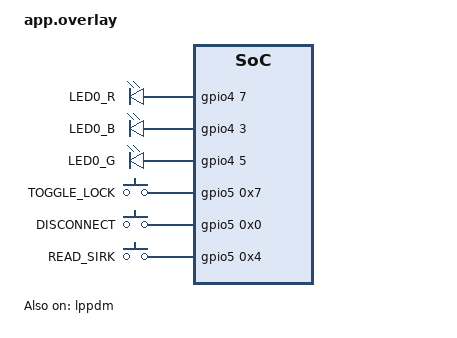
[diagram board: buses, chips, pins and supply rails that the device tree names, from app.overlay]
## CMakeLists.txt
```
# Copyright (C) Alif Semiconductor - All Rights Reserved.
# Use, distribution and modification of this code is permitted under the
# terms stated in the Alif Semiconductor Software License Agreement
#
# You should have received a copy of the Alif Semiconductor Software
# License Agreement with this file. If not, please write to:
# contact@alifsemi.com, or visit: https://alifsemi.com/license

cmake_minimum_required(VERSION 3.20.0)
find_package(Zephyr REQUIRED HINTS $ENV{ZEPHYR_BASE})
project(le_central_csip)

target_sources(app PRIVATE
    src/main.c
    src/app_gaf_scan.c
    src/app_csisc.c
    src/storage.c
)
```

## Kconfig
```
# Copyright (C) 2026 Alif Semiconductor - All Rights Reserved.
# Use, distribution and modification of this code is permitted under the
# terms stated in the Alif Semiconductor Software License Agreement
#
# You should have received a copy of the Alif Semiconductor Software
# License Agreement with this file. If not, please write to:
# contact@alifsemi.com, or visit: https://alifsemi.com/license

menu "Alif Bluetooth LE Audio CSIP Initiator"

config BLE_DEVICE_NAME
	string "BLE device name"
	default "ALIF_CSIP_CLI"
	help
	  Device name

config PERIPHERAL_NAME
	string "CSIP server peripheral name"
	default "ALIF_CSIP"
	help
	  CSIP server to be connected to

menu "Logging"

module = MAIN
module-str = main
source "subsys/logging/Kconfig.template.log_config"

module = LE_GAF_SCAN
module-str = le_gaf_scan
source "subsys/logging/Kconfig.template.log_config"

module = STORAGE
module-str = storage
source "subsys/logging/Kconfig.template.log_config"

endmenu # "Logging"

endmenu # "Alif Bluetooth LE Audio CSIP Initiator"
source "Kconfig.zephyr"
```

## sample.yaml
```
sample:
  name: LE Central CSIP
tests:
  sample.bt_custom.le_central_csip:
    build_only: true
    filter: dt_nodelabel_enabled("gpio5")
    tags:
      - bluetooth
      - bt_custom
      - le_audio
```

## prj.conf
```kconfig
CONFIG_USE_SEGGER_RTT=y
CONFIG_RTT_CONSOLE=y
CONFIG_BT=y
CONFIG_BT_CUSTOM=y

CONFIG_LOG=y
CONFIG_ASSERT=y

# Needed for Zephyr randomizer
CONFIG_ENTROPY_GENERATOR=y
CONFIG_TEST_RANDOM_GENERATOR=y

# Enable the Settings subsystem
CONFIG_SETTINGS=y

# Enable NVS as the backend for Settings
CONFIG_SETTINGS_NVS=y

# Enable flash support
CONFIG_FLASH=y
CONFIG_FLASH_MAP=y

# Enable NVS
CONFIG_NVS=y


CONFIG_MAIN_STACK_SIZE=8192
CONFIG_ISR_STACK_SIZE=4096
CONFIG_PRIVILEGED_STACK_SIZE=2048
CONFIG_IDLE_STACK_SIZE=1024
CONFIG_BOOT_BANNER=n
CONFIG_ALIF_BLE_HOST_ADDL_PRF_HEAPSIZE=10240
CONFIG_ALIF_BLE_HOST_ADDL_ENV_HEAPSIZE=8192
```

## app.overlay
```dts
/* Copyright (C) Alif Semiconductor - All Rights Reserved.
 * Use, distribution and modification of this code is permitted under the
 * terms stated in the Alif Semiconductor Software License Agreement
 *
 * You should have received a copy of the Alif Semiconductor Software
 * License Agreement with this file. If not, please write to:
 * contact@alifsemi.com, or visit: https://alifsemi.com/license
 *
 */

#include <dt-bindings/pinctrl/balletto-pinctrl.h>
#include <dt-bindings/gpio/gpio.h>

/ {
	aliases {
		/delete-property/ sw0;

	};

	leds {
		compatible = "gpio-leds";
		led_red: led_0 {
			gpios = <&gpio4 7 0>;
			label = "LED0_R";
		};
		led_blue: led_1 {
			gpios = <&gpio4 3 0>;
			label = "LED0_B";
		};
		led_green: led_2 {
			gpios = <&gpio4 5 0>;
			label = "LED0_G";
		};
	};

	buttons {

		button0: button_0 {
			gpios = < &gpio5 0x7 0x0 >;
			label = "TOGGLE_LOCK";
		};

		/* JOY_SW1 */
		button_up: button_up {
			gpios = < &gpio5 0x0 0x0 >;
			label = "DISCONNECT";
		};
		/* JOY_SW2 */
		button_down: button_down {
			gpios = < &gpio5 0x4 0x0 >;
			label = "READ_SIRK";
		};
	};
};

&lppdm {
	status = "okay";
};


/* Configure joystick buttons */
&pinctrl_gpio5 {
	group1 {
		pinmux = <PIN_P5_0__GPIO>,
			 <PIN_P5_4__GPIO>,
			 <PIN_P5_7__GPIO>;
		/* enable pull-up */
		driver-state-control = <1>;
		read-enable = < 0x1 >;
	};
};

/* Disable unnecessary nodes */
&uart_ahi {
	status = "disabled";
};
```

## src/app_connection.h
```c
/* Copyright (C) Alif Semiconductor - All Rights Reserved.
 * Use, distribution and modification of this code is permitted under the
 * terms stated in the Alif Semiconductor Software License Agreement
 *
 * You should have received a copy of the Alif Semiconductor Software
 * License Agreement with this file. If not, please write to:
 * contact@alifsemi.com, or visit: https://alifsemi.com/license
 */

#ifndef _APP_CONNECTION_H
#define _APP_CONNECTION_H

#include "csisc.h"
#include "atc_csi.h"
/**
 * @brief Connect to a peer device by its Bluetooth address
 *
 * @param[in] p_addr Pointer to the Bluetooth address of the peer device
 * @param[out] connidx Pointer to store the connection index of the established connection
 * @return 0 on success, error code otherwise
 */
int app_connect_device(gap_bdaddr_t const *const p_addr, uint8_t *connidx);

/**
 * @brief Disconnect from a connected peer device by its connection index
 *
 * @param[in] conidx Connection index of the peer device to disconnect from
 * @param[in] remove_bond Flag indicating whether to remove the bond information
 * @return 0 on success, error code otherwise
 */
int app_disconnect(uint8_t conidx, bool remove_bond);

#endif /* _APP_CONNECTION_H */
```

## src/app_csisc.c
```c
/* Copyright (C) Alif Semiconductor - All Rights Reserved.
 * Use, distribution and modification of this code is permitted under the
 * terms stated in the Alif Semiconductor Software License Agreement
 *
 * You should have received a copy of the Alif Semiconductor Software
 * License Agreement with this file. If not, please write to:
 * contact@alifsemi.com, or visit: https://alifsemi.com/license
 */

#include <zephyr/kernel.h>
#include <zephyr/logging/log.h>
#include <string.h>
#include "alif_ble.h"
#include "gapm.h"
#include "gap_le.h"
#include "gapc_le.h"
#include "gapc_sec.h"
#include "gapm_le.h"
#include "gapm_le_adv.h"
#include "co_buf.h"
#include "address_verification.h"

#include "prf.h"
#include "atc_csisc.h"
#include "atc_csisc_msg.h"
#include "csis.h"
#include "gapm_api.h"
#include "rwip_task.h"
#include "app_csisc.h"
#include "app_connection.h"

LOG_MODULE_REGISTER(csisc, LOG_LEVEL_DBG);

#define BUTTON_NODELABEL DT_NODELABEL(button0)

#define NUMBER_OF_SETS 3
#define NUMBER_OF_RSI  3

struct app_csisc_set_t {
	uint8_t set_lid;
	uint8_t key_lid;
	uint8_t conidx;
	bool sirk_valid;
	uint8_t sirk[CSIS_SIRK_LEN];
	uint8_t char_type_size;
	uint8_t char_type_rank;
	uint8_t char_type_lock;
	csisc_csis_info_t csis_info;
};

struct app_csisc_env_t {
	struct app_csisc_set_t sets[NUMBER_OF_SETS];
	uint16_t active_sets;
	sys_slist_t dev_free_list;
	sys_slist_t dev_rsi_list;
};

struct app_coordinator_rsi {
	/* List header */
	sys_snode_t node;
	/* RSI to resolve */
	atc_csis_rsi_t rsi;
	uint8_t key_lid;
	uint8_t set_lid;
	uint8_t lid;
	uint8_t conidx;
	bool resolved;
	bool connected;
	bool sirk_valid;
	bool rsi_valid;
	gap_bdaddr_t addr;
};

static struct app_coordinator_rsi app_rsi_available[NUMBER_OF_RSI];

K_SEM_DEFINE(csisc_procedure_sem, 0, 1);
static uint16_t csisc_completed_status;
static uint8_t csisc_completed_lid;
static uint8_t csisc_completed_char_type;

static peer_ltk_getter_t peer_ltk_get;
static struct app_csisc_env_t env;

void joystick_press(struct k_work *work)
{
	ARG_UNUSED(work);
	LOG_INF("Toggle csisc lock state for first device in the list!");
	csisc_lock_toggle(0, 0);
}
static K_WORK_DEFINE(joystick_press_work, joystick_press);

void joystick_up(struct k_work *work)
{
	int dev_count;
	struct app_coordinator_rsi *entry;

	ARG_UNUSED(work);
	alif_ble_mutex_lock(K_FOREVER);
	dev_count = sys_slist_len(&env.dev_rsi_list);
	alif_ble_mutex_unlock();

	if (!dev_count) {
		LOG_INF("No devices to disconnect");

		return;
	}

	alif_ble_mutex_lock(K_FOREVER);
	entry = (struct app_coordinator_rsi *)sys_slist_get(&env.dev_rsi_list);
	alif_ble_mutex_unlock();

	while (entry) {
		if (entry->conidx != GAP_INVALID_CONIDX) {
			LOG_INF("Disconnecting peer with conidx %u", entry->conidx);
			app_disconnect(entry->conidx, false);
		}
		/* Release entry */
		alif_ble_mutex_lock(K_FOREVER);
		sys_slist_append(&env.dev_free_list, &entry->node);
		entry->connected = false;
		entry->resolved = false;
		entry->conidx = GAP_INVALID_CONIDX;
		alif_ble_mutex_unlock();

		alif_ble_mutex_lock(K_FOREVER);
		entry = (struct app_coordinator_rsi *)sys_slist_get(&env.dev_rsi_list);
		alif_ble_mutex_unlock();
	}
}

static K_WORK_DEFINE(joystick_up_work, joystick_up);

void joystick_down(struct k_work *work)
{
	ARG_UNUSED(work);
	LOG_INF("Get SIRK of first device in the list!");
	csisc_get_char(0, 0, CSIS_CHAR_TYPE_SIRK);
}
static K_WORK_DEFINE(joystick_down_work, joystick_down);

#if !DT_NODE_EXISTS(BUTTON_NODELABEL)
#error "Button is mandatory!"
#endif

#include <zephyr/drivers/gpio.h>

struct gpio_data {
	const struct gpio_dt_spec spec;
	struct gpio_callback cb_data;
	struct k_work *execute_func;
	uint32_t last_clicked_ms;
};

#define BUTTON_DEBOUNCE_MS 15

static bool check_debounce(uint32_t *const p_last_time_ms)
{
	uint32_t const current_time_ms = k_uptime_get_32();

	if ((current_time_ms - *p_last_time_ms) < BUTTON_DEBOUNCE_MS) {
		return false;
	}

	*p_last_time_ms = current_time_ms;
	return true;
}

static bool is_bdaddr_valid(gap_bdaddr_t const *const p_addr)
{
	return (!!p_addr && p_addr->addr_type <= GAP_ADDR_RAND);
}

static struct app_coordinator_rsi *get_rsi_by_bdaddr(gap_bdaddr_t const *const p_addr)
{
	if (!is_bdaddr_valid(p_addr)) {
		return NULL;
	}

	struct app_coordinator_rsi *p_rsi;
	sys_snode_t *node = NULL;

	SYS_SLIST_ITERATE_FROM_NODE(&env.dev_rsi_list, node)
	{
		p_rsi = (struct app_coordinator_rsi *)node;
		if (!memcmp((p_rsi->addr.addr), p_addr->addr, sizeof(p_addr->addr))) {
			return p_rsi;
		}
	}

	return NULL;
}

static struct app_coordinator_rsi *get_rsi_by_conidx(uint8_t conidx)
{
	struct app_coordinator_rsi *p_rsi;
	sys_snode_t *node = NULL;

	if (conidx == GAP_INVALID_CONIDX) {
		return NULL;
	}

	SYS_SLIST_ITERATE_FROM_NODE(&env.dev_rsi_list, node)
	{
		p_rsi = (struct app_coordinator_rsi *)node;
		if (p_rsi->conidx == conidx) {
			return p_rsi;
		}
	}

	return NULL;
}

static void gpio_isr_handler(const struct device *dev, struct gpio_callback *cb, uint32_t pins)
{
	struct gpio_data *p_data = CONTAINER_OF(cb, struct gpio_data, cb_data);
	gpio_port_value_t value;

	if (gpio_port_get(dev, &value)) {
		LOG_ERR("Failed to read button state");
		return;
	}

	if (!check_debounce(&p_data->last_clicked_ms)) {
		return;
	}

	if (value & pins) {
		/* ignore invalid state */
		return;
	}

	if (!p_data->execute_func) {
		return;
	}

	k_work_submit(p_data->execute_func);
}

static int configure_button(struct gpio_data *p_button)
{
	if (!p_button->spec.port) {
		LOG_ERR("Button is not valid!");
		return -EEXIST;
	}

	/* Configure button */
	if (!gpio_is_ready_dt(&p_button->spec)) {
		LOG_ERR("Button is not ready");
		return -EEXIST;
	}

	if (gpio_pin_configure_dt(&p_button->spec, GPIO_INPUT)) {
		LOG_ERR("Button configure failed");
		return -EIO;
	}

	if (gpio_pin_interrupt_configure_dt(&p_button->spec, GPIO_INT_EDGE_FALLING)) {
		LOG_ERR("button int conf failed");
		return -EIO;
	}

	gpio_init_callback(&p_button->cb_data, gpio_isr_handler, BIT(p_button->spec.pin));
	if (gpio_add_callback(p_button->spec.port, &p_button->cb_data)) {
		LOG_ERR("cb add failed");
		return -EIO;
	}

	return 0;
}

static struct gpio_data joystick_conf[] = {
	{.spec = GPIO_DT_SPEC_GET_OR(BUTTON_NODELABEL, gpios, {0}),
	 .execute_func = &joystick_press_work},
	{.spec = GPIO_DT_SPEC_GET_OR(DT_NODELABEL(button_up), gpios, {0}),
	 .execute_func = &joystick_up_work},
	{.spec = GPIO_DT_SPEC_GET_OR(DT_NODELABEL(button_down), gpios, {0}),
	 .execute_func = &joystick_down_work},
};

/* CSIP callbacks */
void app_csisc_cb_bond_data(uint8_t conidx, uint8_t set_lid, const csisc_csis_info_t *p_csis_info)
{
	struct app_coordinator_rsi *entry = get_rsi_by_conidx(conidx);

	if (!entry) {
		LOG_ERR("No entry found for conidx %u", conidx);
		return;
	}

	env.sets[set_lid].csis_info = *p_csis_info;

	entry->set_lid = set_lid;
	entry->conidx = conidx;

	LOG_DBG("Bond data for set_lid %u, conidx %u", set_lid, conidx);
	LOG_DBG("Service info: start_hdl %u, end_hdl %u", p_csis_info->svc_info.shdl,
		p_csis_info->svc_info.ehdl);
	for (uint8_t i = 0; i < CSIS_CHAR_TYPE_MAX; i++) {
		LOG_DBG("Char %u:property 0x%02X, val_hdl %u", i, p_csis_info->char_info[i].prop,
			p_csis_info->char_info[i].val_hdl);
	}
	for (uint8_t i = 0; i < CSIS_DESC_TYPE_MAX; i++) {
		LOG_DBG("Desc %u:desc_hdl %u", i, p_csis_info->desc_info[i].desc_hdl);
	}
}

void app_csisc_cb_ltk_req(uint8_t con_lid, uint8_t set_lid)
{
	struct app_coordinator_rsi *entry = get_rsi_by_conidx(con_lid);

	if (!entry) {
		LOG_ERR("No entry found for conidx %u", con_lid);
		return;
	}
	entry->set_lid = set_lid;

	LOG_DBG("LTK request for set_lid %u, con_lid %u", set_lid, con_lid);
	/* GET LTK KEY */
	if (!peer_ltk_get) {
		LOG_ERR("peer_ltk_get is NULL");
		return;
	}
	atc_csisc_ltk_cfm(peer_ltk_get(con_lid));
}

void app_csisc_cb_cmp_evt(uint16_t cmd_code, uint16_t status, uint8_t lid, uint8_t set_lid,
			  uint8_t char_type)
{
	switch (cmd_code) {
	case ATC_CSISC_CMD_TYPE_RESOLVE:
		LOG_INF("RSI resolution completed with status %u for set_lid %u, lid %u", status,
			set_lid, lid);
		break;
	case ATC_CSISC_CMD_TYPE_DISCOVER:
		LOG_INF("Discover completed with status %u for set_lid %u, lid %u", status, set_lid,
			lid);
		break;
	case ATC_CSISC_CMD_TYPE_LOCK:
		LOG_INF("Lock command completed with status %u for set_lid %u, lid %u", status,
			set_lid, lid);
		break;
	case ATC_CSISC_CMD_TYPE_GET:
		LOG_INF("Get command completed with status %u for set_lid %u, lid %u, char_type %u",
			status, set_lid, lid, char_type);
		break;
	case ATC_CSISC_CMD_TYPE_SET_CFG:
		LOG_INF("Set configuration command completed with status %u for set_lid %u, lid "
			"%u, char_type %u",
			status, set_lid, lid, char_type);
		break;
	default:
		LOG_INF("Command code %u completed with status %u for set_lid %u, lid %u, "
			"char_type %u",
			cmd_code, status, set_lid, lid, char_type);
		break;
	}

	csisc_completed_status = status;
	csisc_completed_lid = lid;
	csisc_completed_char_type = char_type;
	k_sem_give(&csisc_procedure_sem);
}

void app_set_csisc_cb_sirk(uint8_t conidx, uint8_t set_lid, uint8_t key_lid,
			   const csis_sirk_t *p_sirk)
{
	struct app_coordinator_rsi *entry = get_rsi_by_conidx(conidx);

	if (!entry) {
		LOG_ERR("No entry found for conidx %u", conidx);
		return;
	}

	LOG_DBG("SIRK for set_lid %u, conidx %u, key_lid %u", set_lid, conidx, key_lid);
	LOG_INF("SIRK: "
		"%02x:%02x:%02x:%02x:%02x:%02x:%02x:%02x:%02x:%02x:%02x:%02x:%02x:%02x:%02x:%02x",
		p_sirk->sirk[0], p_sirk->sirk[1], p_sirk->sirk[2], p_sirk->sirk[3], p_sirk->sirk[4],
		p_sirk->sirk[5], p_sirk->sirk[6], p_sirk->sirk[7], p_sirk->sirk[8], p_sirk->sirk[9],
		p_sirk->sirk[10], p_sirk->sirk[11], p_sirk->sirk[12], p_sirk->sirk[13],
		p_sirk->sirk[14], p_sirk->sirk[15]);

	if (key_lid == GAF_INVALID_LID) {
		if (env.sets[set_lid].key_lid != GAF_INVALID_LID) {
			LOG_DBG("Removing SIRK with key_lid %u", env.sets[set_lid].key_lid);
			atc_csisc_remove_sirk(env.sets[set_lid].key_lid);
			env.sets[set_lid].key_lid = GAF_INVALID_LID;
			env.sets[set_lid].sirk_valid = false;
		}

		atc_csisc_add_sirk(p_sirk, &(env.sets[set_lid].key_lid));
		if (env.sets[set_lid].key_lid == GAF_INVALID_LID) {
			LOG_ERR("Failed to add SIRK");
		} else {
			LOG_INF("Added SIRK with key_lid %u", env.sets[set_lid].key_lid);
			entry->key_lid = env.sets[set_lid].key_lid;
			entry->set_lid = set_lid;

			env.sets[set_lid].set_lid = set_lid;
			env.sets[set_lid].sirk_valid = true;
			env.sets[set_lid].conidx = conidx;
			memcpy(env.sets[set_lid].sirk, p_sirk->sirk, CSIS_SIRK_LEN);
			env.active_sets |= BIT(set_lid);
		}
	}
}

void app_set_csisc_cb_info(uint8_t conidx, uint8_t set_lid, uint8_t char_type, uint8_t val)
{
	LOG_DBG("Info for set_lid %u, conidx %u, char_type %u, val %u", set_lid, conidx, char_type,
		val);
	switch (char_type) {
	case CSIS_CHAR_TYPE_SIZE:
		LOG_INF("Coordinated set size: %u", val);
		env.sets[set_lid].char_type_size = val;
		break;

	case CSIS_CHAR_TYPE_LOCK:
		env.sets[set_lid].char_type_lock = val;
		LOG_INF("Lock state: %s", val == CSIS_LOCK_UNLOCKED ? "UNLOCKED" : "LOCKED");
		break;

	case CSIS_CHAR_TYPE_RANK:
		env.sets[set_lid].char_type_rank = val;
		LOG_INF("Rank: %u", val);
		break;

	default:
		break;
	}
}

void app_set_csisc_cb_svc_changed(uint8_t conidx)
{
}

static atc_csisc_cb_t csisc_cbs = {
	.cb_bond_data = app_csisc_cb_bond_data,
	.cb_sirk = app_set_csisc_cb_sirk,
	.cb_info = app_set_csisc_cb_info,
	.cb_ltk_req = app_csisc_cb_ltk_req,
	.cb_cmp_evt = app_csisc_cb_cmp_evt,
	.cb_svc_changed = app_set_csisc_cb_svc_changed,
};

uint16_t csisc_configure(peer_ltk_getter_t peer_ltk_getter)
{
	uint16_t ret = 0;

	env.active_sets = 0;

	sys_slist_init(&env.dev_free_list);
	sys_slist_init(&env.dev_rsi_list);

	for (size_t iter = 0; iter < NUMBER_OF_SETS; iter++) {
		env.sets[iter].set_lid = iter;
		env.sets[iter].key_lid = GAF_INVALID_LID;
		env.sets[iter].conidx = GAP_INVALID_CONIDX;
		env.sets[iter].sirk_valid = false;
		env.sets[iter].char_type_lock = CSIS_LOCK_UNLOCKED;
	}

	for (size_t iter = 0; iter < NUMBER_OF_RSI; iter++) {
		app_rsi_available[iter].key_lid = GAF_INVALID_LID;
		app_rsi_available[iter].set_lid = 0;
		app_rsi_available[iter].conidx = GAP_INVALID_CONIDX;
		app_rsi_available[iter].resolved = false;
		app_rsi_available[iter].connected = false;
		app_rsi_available[iter].sirk_valid = false;
		app_rsi_available[iter].rsi_valid = false;

		sys_slist_append(&env.dev_free_list, &app_rsi_available[iter].node);
	}

	if (!peer_ltk_getter) {
		LOG_ERR("peer_ltk_getter is NULL");
		return -EINVAL;
	}

	peer_ltk_get = peer_ltk_getter;
	ret = atc_csisc_configure(3, &csisc_cbs);
	if (ret) {
		LOG_ERR("CSISM configuration failed %d", ret);
		return ret;
	}

	for (size_t iter = 0; iter < ARRAY_SIZE(joystick_conf); iter++) {
		ret = configure_button(&joystick_conf[iter]);
		if (ret) {
			return ret;
		}
	}

	return ret;
}

uint16_t csisc_dev_add(gap_bdaddr_t const *const p_addr, atc_csis_rsi_t const *const p_rsi)
{
	struct app_coordinator_rsi *p_dev = get_rsi_by_bdaddr(p_addr);

	if (p_dev) {

		if (p_rsi) {
			memcpy(&p_dev->rsi, p_rsi, sizeof(p_dev->rsi));
			p_dev->rsi_valid = true;
		} else {
			p_dev->rsi_valid = false;
		}

		return 0;
	}

	p_dev = (struct app_coordinator_rsi *)sys_slist_get(&env.dev_free_list);

	if (!p_dev) {
		LOG_ERR("No more free device context available");
		return -ENOMEM;
	}

	memcpy(&p_dev->addr, p_addr, sizeof(p_dev->addr));
	if (p_rsi) {
		memcpy(&p_dev->rsi, p_rsi, sizeof(p_dev->rsi));
		p_dev->rsi_valid = true;
		LOG_INF("Device rsi %02X:%02X:%02X:%02X:%02X:%02X added to CSISC context",
			p_rsi->rsi[0], p_rsi->rsi[1], p_rsi->rsi[2], p_rsi->rsi[3], p_rsi->rsi[4],
			p_rsi->rsi[5]);
	} else {
		p_dev->rsi_valid = false;
	}
	LOG_INF("new device with address %02X:%02X:%02X:%02X:%02X:%02X added to CSISC context",
		p_dev->addr.addr[5], p_dev->addr.addr[4], p_dev->addr.addr[3], p_dev->addr.addr[2],
		p_dev->addr.addr[1], p_dev->addr.addr[0]);
	sys_slist_append(&env.dev_rsi_list, &p_dev->node);
	return 0;
}

static uint16_t csisc_discovery(uint8_t conidx)
{
	uint16_t ret = 0;

	alif_ble_mutex_lock(K_FOREVER);
	ret = atc_csisc_discover(conidx, NUMBER_OF_RSI, GATT_INVALID_HDL, GATT_INVALID_HDL);
	if (ret) {
		LOG_ERR("CSISM discovery failed %d", ret);
		alif_ble_mutex_unlock();
		return ret;
	}
	alif_ble_mutex_unlock();
	k_sem_take(&csisc_procedure_sem, K_FOREVER);
	ret = csisc_completed_status;
	LOG_INF("CSISM discovery completed with status %u", ret);
	return ret;
}

static uint16_t csisc_resolve_rsi(uint8_t *p_rsi)
{
	uint16_t ret = 0;
	csis_rsi_t rsi;

	alif_ble_mutex_lock(K_FOREVER);

	if (env.active_sets == 0) {
		LOG_ERR("SIRK is not valid");
		alif_ble_mutex_unlock();
		return -EINVAL;
	}

	memcpy(rsi.rsi, p_rsi, CSIS_RSI_LEN);

	ret = atc_csisc_resolve(&rsi);
	if (ret) {
		LOG_ERR("CSISM resolve failed %d", ret);
		alif_ble_mutex_unlock();
		return ret;
	}
	alif_ble_mutex_unlock();
	k_sem_take(&csisc_procedure_sem, K_FOREVER);
	ret = csisc_completed_status;
	LOG_INF("CSISM resolve completed with status %u", ret);
	return ret;
}

uint16_t csisc_lock_toggle(uint8_t conidx, uint8_t set_lid)
{
	uint16_t ret = 0;

	alif_ble_mutex_lock(K_FOREVER);

	uint8_t lock_state = (env.sets[set_lid].char_type_lock == CSIS_LOCK_UNLOCKED)
				     ? CSIS_LOCK_LOCKED
				     : CSIS_LOCK_UNLOCKED;

	LOG_INF("CSISM set lock state to %s",
		lock_state == CSIS_LOCK_UNLOCKED ? "UNLOCKED" : "LOCKED");
	ret = atc_csisc_lock(conidx, set_lid, lock_state);
	if (ret) {
		LOG_ERR("CSISM set lock failed %d", ret);
		alif_ble_mutex_unlock();
		return ret;
	}

	alif_ble_mutex_unlock();
	k_sem_take(&csisc_procedure_sem, K_FOREVER);
	alif_ble_mutex_lock(K_FOREVER);
	if (csisc_completed_status == 0) {
		env.sets[set_lid].char_type_lock = lock_state;
	}
	ret = csisc_completed_status;
	alif_ble_mutex_unlock();
	LOG_INF("CSISM set lock completed with status %u", ret);
	return ret;
}

uint16_t csisc_get_char(uint8_t conidx, uint8_t set_lid, uint8_t char_type)
{
	uint16_t ret = 0;

	LOG_INF("CSISM get char type %u", char_type);
	alif_ble_mutex_lock(K_FOREVER);

	ret = atc_csisc_get(conidx, set_lid, char_type);
	if (ret) {
		LOG_ERR("CSISM get char failed %d", ret);
		alif_ble_mutex_unlock();
		return ret;
	}
	alif_ble_mutex_unlock();
	k_sem_take(&csisc_procedure_sem, K_FOREVER);
	ret = csisc_completed_status;
	LOG_INF("CSISM get char completed with status %u", ret);
	return ret;
}

void csisc_process(void)
{
	int ret;
	uint16_t response;
	int dev_count;

	alif_ble_mutex_lock(K_FOREVER);
	dev_count = sys_slist_len(&env.dev_rsi_list);
	alif_ble_mutex_unlock();

	if (!dev_count) {
		return;
	}

	struct app_coordinator_rsi *entry, *tmp;
	sys_snode_t *prev_node = NULL;

	SYS_SLIST_FOR_EACH_CONTAINER_SAFE(&env.dev_rsi_list, entry, tmp, node) {
		if (entry->conidx == GAP_INVALID_CONIDX) {

			if (env.active_sets && entry->rsi_valid) {
				LOG_INF("Attempting to resolve RSI for device with address "
					"%02X:%02X:%02X:%02X:%02X:%02X",
					entry->addr.addr[5], entry->addr.addr[4],
					entry->addr.addr[3], entry->addr.addr[2],
					entry->addr.addr[1], entry->addr.addr[0]);
				response = csisc_resolve_rsi(entry->rsi.rsi);
				if (response) {
					LOG_ERR("CSIS RSI resolve failed for device with address "
						"%02X:%02X:%02X:%02X:%02X:%02X",
						entry->addr.addr[5], entry->addr.addr[4],
						entry->addr.addr[3], entry->addr.addr[2],
						entry->addr.addr[1], entry->addr.addr[0]);
					sys_slist_remove(&env.dev_rsi_list, prev_node,
							 &entry->node);
					sys_slist_append(&env.dev_free_list, &entry->node);
					continue;
				}
				entry->resolved = true;
			}
			ret = app_connect_device(&entry->addr, &entry->conidx);

			if (ret) {
				LOG_ERR("Failed to connect to device with address "
					"%02X:%02X:%02X:%02X:%02X:%02X",
					entry->addr.addr[5], entry->addr.addr[4],
					entry->addr.addr[3], entry->addr.addr[2],
					entry->addr.addr[1], entry->addr.addr[0]);
				sys_slist_remove(&env.dev_rsi_list, prev_node, &entry->node);
				sys_slist_append(&env.dev_free_list, &entry->node);
				continue;
			}
			LOG_INF("Connected to device with address %02X:%02X:%02X:%02X:%02X:%02X",
				entry->addr.addr[5], entry->addr.addr[4], entry->addr.addr[3],
				entry->addr.addr[2], entry->addr.addr[1], entry->addr.addr[0]);
			entry->connected = true;

			response = csisc_discovery(entry->conidx);
			if (response) {
				LOG_ERR("CSIS discovery failed for device with address "
					"%02X:%02X:%02X:%02X:%02X:%02X",
					entry->addr.addr[5], entry->addr.addr[4],
					entry->addr.addr[3], entry->addr.addr[2],
					entry->addr.addr[1], entry->addr.addr[0]);
				response = app_disconnect(entry->conidx, true);
				LOG_INF("Disconnected status %u", response);
				if (response) {
					LOG_ERR("Failed to disconnect from device with address "
						"%02X:%02X:%02X:%02X:%02X:%02X",
						entry->addr.addr[5], entry->addr.addr[4],
						entry->addr.addr[3], entry->addr.addr[2],
						entry->addr.addr[1], entry->addr.addr[0]);
					sys_slist_remove(&env.dev_rsi_list, prev_node,
							 &entry->node);
					sys_slist_append(&env.dev_free_list, &entry->node);
				}

				continue;
			}
			entry->lid = csisc_completed_lid;

			if (!entry->resolved && env.active_sets && entry->rsi_valid) {
				response = csisc_resolve_rsi(entry->rsi.rsi);
				if (response) {
					LOG_ERR("CSIS RSI resolve failed for device with address "
						"%02X:%02X:%02X:%02X:%02X:%02X",
						entry->addr.addr[5], entry->addr.addr[4],
						entry->addr.addr[3], entry->addr.addr[2],
						entry->addr.addr[1], entry->addr.addr[0]);
					response = app_disconnect(entry->conidx, true);
					LOG_INF("Disconnected status %u", response);
					if (response) {
						LOG_ERR("Failed to disconnect from device with "
							"address "
							"%02X:%02X:%02X:%02X:%02X:%02X",
							entry->addr.addr[5], entry->addr.addr[4],
							entry->addr.addr[3], entry->addr.addr[2],
							entry->addr.addr[1], entry->addr.addr[0]);
						sys_slist_remove(&env.dev_rsi_list, prev_node,
								 &entry->node);
						sys_slist_append(&env.dev_free_list, &entry->node);
					}
					continue;
				}
				entry->resolved = true;
			}
		}
		prev_node = &entry->node;
	}
}

uint16_t csisc_dev_disconnected(uint8_t conidx)
{

	struct app_coordinator_rsi *p_dev = get_rsi_by_conidx(conidx);

	if (!p_dev) {
		return -EINVAL;
	}
	LOG_INF("Device with conidx %u disconnected", conidx);
	p_dev->conidx = GAP_INVALID_CONIDX;
	p_dev->connected = false;
	p_dev->resolved = false;
	sys_slist_find_and_remove(&env.dev_rsi_list, &p_dev->node);
	sys_slist_append(&env.dev_free_list, &p_dev->node);
	return 0;
}
```

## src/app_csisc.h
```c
/* Copyright (C) 2026 Alif Semiconductor - All Rights Reserved.
 * Use, distribution and modification of this code is permitted under the
 * terms stated in the Alif Semiconductor Software License Agreement
 *
 * You should have received a copy of the Alif Semiconductor Software
 * License Agreement with this file. If not, please write to:
 * contact@alifsemi.com, or visit: https://alifsemi.com/license
 */

#ifndef _APP_CSISC_H
#define _APP_CSISC_H
#include "atc_csisc.h"
/**
 * @brief Callback function type for retrieving the LTK of a connected peer by its connection index
 *
 * @param conidx Connection index of the peer
 * @return Pointer to the LTK of the peer, or NULL if not available
 */
typedef void *(*peer_ltk_getter_t)(uint32_t const conidx);

/**
 * @brief Configure the CSISC module
 *
 * @param[in] peer_ltk_getter Function pointer to retrieve the LTK of a connected peer by its
 * connection index
 *
 * @return 0 on success
 */
uint16_t csisc_configure(peer_ltk_getter_t peer_ltk_getter);

/**
 * @brief Toggle CSISC lock state between locked and unlocked
 *
 * @param[in] conidx Connection index of the Set Member device
 * @param[in] set_lid Set LID of the Set Member device
 *
 * @return 0 on success
 */
uint16_t csisc_lock_toggle(uint8_t conidx, uint8_t set_lid);

/**
 * @brief Get a CSIS characteristic value from a connected Set Member device
 *
 * @param[in] conidx Connection index of the Set Member device
 * @param[in] set_lid Set LID of the Set Member device
 * @param[in] char_type Characteristic type to get (see enum csis_char_type)
 *
 * @return 0 on success
 */
uint16_t csisc_get_char(uint8_t conidx, uint8_t set_lid, uint8_t char_type);

/**
 * @brief Add a new CSIS device
 *
 * @param[in] p_addr Pointer to the Bluetooth address of the device
 * @param[in] p_rsi Pointer to the RSI of the device
 *
 * @return 0 on success
 */
uint16_t csisc_dev_add(gap_bdaddr_t const *const p_addr, atc_csis_rsi_t const *const p_rsi);

/**
 * @brief Handle a CSIS device disconnection
 *
 * @param[in] conidx Connection index of the disconnected device
 *
 * @return 0 on success
 */
uint16_t csisc_dev_disconnected(uint8_t conidx);

/**
 * @brief Process CSIS tasks
 */
void csisc_process(void);

#endif /* _APP_CSISC_H */
```

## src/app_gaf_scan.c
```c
/* Copyright (C) 2026 Alif Semiconductor - All Rights Reserved.
 * Use, distribution and modification of this code is permitted under the
 * terms stated in the Alif Semiconductor Software License Agreement
 *
 * You should have received a copy of the Alif Semiconductor Software
 * License Agreement with this file. If not, please write to:
 * contact@alifsemi.com, or visit: https://alifsemi.com/license
 */

#include <zephyr/kernel.h>
#include <zephyr/logging/log.h>
#include "gaf_scan.h"
#include "gap_le.h"
#include "gapm.h"
#include "app_gaf_scan.h"
#include "alif_ble.h"

#define SCAN_DURATION_SEC 5
/** See enum gaf_scan_cfg_bf for more information */
#define SCAN_CONFIG_BITS  GAF_SCAN_CFG_ASCS_REQ_BIT

LOG_MODULE_REGISTER(le_gaf_scan, CONFIG_LE_GAF_SCAN_LOG_LEVEL);

static bool scan_ongoing;
static scanning_ready_callback_t scanning_ready_cb;
static peer_found_cb_t peer_match_cb;
static uint8_t scan_req_bits;

const char peripheral_name[] = CONFIG_PERIPHERAL_NAME;

const char *bdaddr_str(const gap_bdaddr_t *const p_addr)
{
	static char addr_str[32];

	snprintk(addr_str, sizeof(addr_str), "%02X:%02X:%02X:%02X:%02X:%02X (%u)", p_addr->addr[5],
		 p_addr->addr[4], p_addr->addr[3], p_addr->addr[2], p_addr->addr[1],
		 p_addr->addr[0], p_addr->addr_type);
	return addr_str;
}

/* ---------------------------------------------------------------------------------------- */
/** GAF Client callbacks */

static void on_gaf_scanning_cb_cmp_evt(uint8_t const cmd_type, uint16_t const status)
{
	if (cmd_type == GAF_SCAN_CMD_TYPE_STOP) {
		LOG_INF("Scan stopped");
		scan_ongoing = false;

		if (scanning_ready_cb) {
			scanning_ready_cb();
			scanning_ready_cb = NULL;
		}
	} else if (cmd_type == GAF_SCAN_CMD_TYPE_START) {
		/* LOG_INF("Scan started"); */
	} else {
		LOG_ERR("Unexpected GAF scanning command complete event: %u", cmd_type);
	}
}

static void on_gaf_scanning_cb_stopped(uint8_t const reason)
{
	static const char *const reason_str[] = {
		"Requested by Upper Layer",
		"Internal error",
		"Timeout",
	};

	LOG_DBG("GAF scanning stopped. Reason: %s",
		reason < ARRAY_SIZE(reason_str) ? reason_str[reason] : "??");

	if (reason == GAF_SCAN_STOP_REASON_UL) {
		LOG_INF("Scan stopped by upper layer request");
		return;
	}

	scan_ongoing = false;
	if (scanning_ready_cb) {
		scanning_ready_cb();
		scanning_ready_cb = NULL;
	}
}

static void on_gaf_scanning_cb_report(const gap_bdaddr_t *p_addr, uint8_t const info_bf,
				      const gaf_adv_report_air_info_t *p_air_info,
				      uint8_t const flags, uint16_t const appearance,
				      uint16_t const tmap_roles, const atc_csis_rsi_t *p_rsi,
				      uint16_t const length, const uint8_t *p_data)
{
	const uint8_t *p_reported_name;
	uint8_t name_length = 0;

	p_reported_name =
		gapm_get_ltv_value(GAP_AD_TYPE_SHORTENED_NAME, length, p_data, &name_length);
	if (!p_reported_name) {
		p_reported_name =
			gapm_get_ltv_value(GAP_AD_TYPE_COMPLETE_NAME, length, p_data, &name_length);
	}

	if (!p_reported_name || !name_length) {
		return;
	}

	/* Check that peripheral name matches */
	if (memcmp(p_reported_name, peripheral_name, sizeof(peripheral_name) - 1)) {
		return;
	}

	/* Notify the application about the found peripheral */
	if ((info_bf & GAF_SCAN_REPORT_INFO_RSI_BIT)) {
		peer_match_cb(p_addr, p_rsi);
	} else {
		peer_match_cb(p_addr, NULL);
	}
}

static void on_gaf_scanning_cb_announcement(const gap_bdaddr_t *const p_addr, uint8_t const type_bf,
					    uint32_t const context_bf,
					    const gaf_ltv_t *const p_metadata)
{

}

static const struct gaf_scan_cb gaf_scan_callbacks = {
	.cb_cmp_evt = on_gaf_scanning_cb_cmp_evt,
	.cb_stopped = on_gaf_scanning_cb_stopped,
	.cb_report = on_gaf_scanning_cb_report,
	.cb_announcement = on_gaf_scanning_cb_announcement,
};

int le_gaf_scan_configure(peer_found_cb_t peer_found_cb)
{
	if (!peer_found_cb) {
		return -EINVAL;
	}
	alif_ble_mutex_lock(K_FOREVER);

	if (peer_match_cb) {
		alif_ble_mutex_unlock();
		return 0;
	}

	uint16_t const err = gaf_scan_configure(&gaf_scan_callbacks);

	if (err != GAF_ERR_NO_ERROR) {
		LOG_ERR("GAF scanning configure error: %u", err);
		alif_ble_mutex_unlock();
		return -ENOEXEC;
	}

	LOG_INF("Scan configured");
	peer_match_cb = peer_found_cb;
	alif_ble_mutex_unlock();
	return 0;
}

int le_gaf_scan_start(scanning_ready_callback_t const ready_cb, uint8_t req_bits)
{
	alif_ble_mutex_lock(K_FOREVER);
	if (scan_ongoing) {
		alif_ble_mutex_unlock();
		return -EBUSY;
	}

	scanning_ready_cb = ready_cb;
	scan_req_bits = req_bits;

	uint16_t const err = gaf_scan_start(scan_req_bits, SCAN_DURATION_SEC, GAP_PHY_1MBPS);

	if (err != GAF_ERR_NO_ERROR) {
		LOG_ERR("GAF scanning start error: %u", err);
		alif_ble_mutex_unlock();
		return -ENOEXEC;
	}

	LOG_INF("Scan started");

	scan_ongoing = true;

	alif_ble_mutex_unlock();
	return 0;
}

int le_gaf_scan_stop(void)
{
	alif_ble_mutex_lock(K_FOREVER);
	if (!scan_ongoing) {
		alif_ble_mutex_unlock();
		return 0;
	}

	uint16_t const err = gaf_scan_stop();

	if (err != GAF_ERR_NO_ERROR) {
		LOG_ERR("GAF scanning stop error: %u", err);
		alif_ble_mutex_unlock();
		return -ENOEXEC;
	}

	alif_ble_mutex_unlock();
	return 0;
}
```

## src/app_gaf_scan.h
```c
/* Copyright (C) 2026 Alif Semiconductor - All Rights Reserved.
 * Use, distribution and modification of this code is permitted under the
 * terms stated in the Alif Semiconductor Software License Agreement
 *
 * You should have received a copy of the Alif Semiconductor Software
 * License Agreement with this file. If not, please write to:
 * contact@alifsemi.com, or visit: https://alifsemi.com/license
 */

#ifndef _APP_GAF_SCAN_H
#define _APP_GAF_SCAN_H

#include "csisc.h"
#include "atc_csi.h"
/**
 * @brief Callback function type for scanning ready event.
 */
typedef void (*scanning_ready_callback_t)(void);

/**
 * @brief Callback function type for when a peer is found during scanning.
 *
 * @param[in] p_addr Pointer to the Bluetooth address of the found peer
 * @param[in] p_rsi Pointer to the RSI of the found peer
 * @return 0 on success
 */
typedef int (*peer_found_cb_t)(gap_bdaddr_t const *const p_addr, atc_csis_rsi_t const *const p_rsi);

/**
 * @brief Configure scanning for LE audio devices
 *
 * @return 0 on success
 */
int le_gaf_scan_configure(peer_found_cb_t peer_found_cb);

/**
 * @brief Start scanning for LE audio devices
 *
 * @return 0 on success
 */
int le_gaf_scan_start(scanning_ready_callback_t ready_cb, uint8_t req_bits);

/**
 * @brief Stop scanning for LE audio devices
 *
 * @return 0 on success
 */
int le_gaf_scan_stop(void);

#endif /* _APP_GAF_SCAN_H */
```

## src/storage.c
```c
/* Copyright (C) 2026 Alif Semiconductor - All Rights Reserved.
 * Use, distribution and modification of this code is permitted under the
 * terms stated in the Alif Semiconductor Software License Agreement
 *
 * You should have received a copy of the Alif Semiconductor Software
 * License Agreement with this file. If not, please write to:
 * contact@alifsemi.com, or visit: https://alifsemi.com/license
 */

#include <zephyr/logging/log.h>
#include <zephyr/settings/settings.h>
#include <stdio.h>
#include <stdlib.h>
#include <string.h>
#include <gapc_sec.h>
#include "storage.h"

LOG_MODULE_REGISTER(storage, CONFIG_STORAGE_LOG_LEVEL);

struct storage_ctx {
	uint8_t *p_output;
	size_t size;
};

#define MAX_PEERS 10

static gapc_pairing_keys_t peer_keys[MAX_PEERS];
static gapc_bond_data_t peer_bond_data[MAX_PEERS];
static struct peer_data peer_contexts[MAX_PEERS];

static sys_slist_t free_peers_contexts;

struct peer_data *storage_allocate_peer_context(void)
{
	struct peer_data *p_peer = (struct peer_data *)sys_slist_get(&free_peers_contexts);

	return p_peer;
}

static struct peer_data *get_free_entry_by_stored_index(uint16_t index)
{
	struct peer_data *entry, *tmp;
	sys_snode_t *prev_node = NULL;

	SYS_SLIST_FOR_EACH_CONTAINER_SAFE(&free_peers_contexts, entry, tmp, node) {
		if (entry->storage_index != index) {
			prev_node = &entry->node;
			continue;
		}

		sys_slist_remove(&free_peers_contexts, prev_node, &entry->node);
		return entry;
	}

	return NULL;
}

void storage_free_peer_context(struct peer_data *p_peer)
{
	gapc_bond_data_t *p_bond_data = p_peer->connection.data;
	gapc_pairing_keys_t *p_appkeys = p_peer->keys.data;

	if (p_bond_data) {
		memset(p_bond_data, 0, sizeof(*p_bond_data));
		storage_delete(SETTINGS_NAME_CONNECTION, p_peer->storage_index);
	}

	if (p_appkeys) {
		memset(p_appkeys, 0, sizeof(*p_appkeys));
		p_appkeys->irk.identity.addr_type = 0xFF;
		storage_delete(SETTINGS_NAME_KEYS, p_peer->storage_index);
	}

	p_peer->actv_idx = GAP_INVALID_ACTV_IDX;
	p_peer->conidx = GAP_INVALID_CONIDX;
	sys_slist_append(&free_peers_contexts, &p_peer->node);
}

static int settings_direct_loader(const char *const key, size_t const len,
				  settings_read_cb const read_cb, void *cb_arg, void *param)
{
	struct storage_ctx *p_ctx = (struct storage_ctx *)param;

	/* Handle the subtree if it is an exact key match. */
	if (settings_name_next(key, NULL) == 0) {
		ssize_t const cb_len = read_cb(cb_arg, p_ctx->p_output, p_ctx->size);

		if (cb_len != p_ctx->size) {
			LOG_ERR("Unable to read bytes_written from storage");
			return cb_len;
		}
	}

	return 0;
}

static void *find_a_node_by_index(int32_t const index, sys_slist_t *list)
{
	struct peer_data *p_peer;
	sys_snode_t *node = NULL;

	SYS_SLIST_ITERATE_FROM_NODE(list, node)
	{
		p_peer = (struct peer_data *)node;
		if (p_peer->storage_index == index) {
			return p_peer;
		}
	}
	return NULL;
}

static int settings_load_all(const char *const key, size_t const len,
			     settings_read_cb const read_cb, void *cb_arg, void *param)
{
	const int32_t storage_index = strtol(key, NULL, 0);
	struct storage_ctx *p_ctx = (struct storage_ctx *)param;
	sys_slist_t *p_list = (sys_slist_t *)p_ctx->p_output;
	const char *next;

	LOG_INF("Load %s len: %d (index %d)", key, len, storage_index);

	if (!settings_name_next(key, &next)) {
		/* Invalid key received, just continue */
		return 0;
	}

	if (!next) {
		/* sub key should exist, ignore if not */
		return 0;
	}

	struct peer_data *node = find_a_node_by_index(storage_index, p_list);

	if (!node) {
		node = get_free_entry_by_stored_index(storage_index);
		if (!node) {
			LOG_ERR("Failed to allocate memory for peer data (index %d)",
				storage_index);
			return -ENOMEM;
		}
		node->storage_index = storage_index;
		sys_slist_append(p_list, &node->node);
	}

	struct bond_data *p_data = NULL;

	if (!strcmp(next, SETTINGS_NAME_KEYS)) {
		p_data = &node->keys;
	} else if (!strcmp(next, SETTINGS_NAME_CONNECTION)) {
		p_data = &node->connection;
	} else {
		LOG_ERR("Invalid storage key %s", key);
		return 0;
	}

	ssize_t const cb_len = read_cb(cb_arg, p_data->data, p_data->size);

	if (cb_len != len) {
		LOG_ERR("Unable to read data from storage %u != %u data len %u", cb_len, len,
			p_data->size);
		return cb_len;
	}

	return 0;
}

int storage_init(void)
{
	static bool initialized;

	if (initialized) {
		return 0;
	}

	sys_slist_init(&free_peers_contexts);

	for (uint16_t i = 0; i < MAX_PEERS; i++) {

		struct peer_data *p_peer = &peer_contexts[i];

		p_peer->keys.data = &peer_keys[i];
		p_peer->keys.size = sizeof(gapc_pairing_keys_t);
		p_peer->connection.data = &peer_bond_data[i];
		p_peer->connection.size = sizeof(gapc_bond_data_t);
		p_peer->actv_idx = GAP_INVALID_ACTV_IDX;
		p_peer->conidx = GAP_INVALID_CONIDX;
		p_peer->storage_index = i;

		sys_slist_append(&free_peers_contexts, &p_peer->node);
	}

	int err = settings_subsys_init();

	if (err) {
		LOG_ERR("settings_subsys_init() failed (err %d)", err);
		return err;
	}

	initialized = true;
	return 0;
}

int storage_load_all(sys_slist_t *const p_found_peers)
{
	struct storage_ctx ctx = {
		.p_output = (void *)p_found_peers,
		.size = 0,
	};
	const int err = settings_load_subtree_direct(SETTINGS_BASE, settings_load_all, &ctx);

	if (err) {
		LOG_ERR("Failed to load " SETTINGS_BASE " data (err %d)", err);
	}

	return err;
}

int storage_store(const char *key, const int index, void *data, size_t const size)
{
	int err;
	char key_str[64];

	snprintf(key_str, sizeof(key_str), SETTINGS_BASE "/%d/%s", index, key);
	err = settings_save_one(key_str, data, size);
	if (err) {
		LOG_ERR("Failed to store %s data (err %d)", key, err);
	}
	return err;
}

int storage_delete(const char *key, const int index)
{
	int err;
	char key_str[64];

	snprintf(key_str, sizeof(key_str), SETTINGS_BASE "/%d/%s", index, key);
	err = settings_delete(key_str);
	if (err) {
		LOG_ERR("Failed to delete %s data (err %d)", key, err);
	}
	return err;
}

int storage_load(const char *key, const int index, void *data, size_t const size)
{
	struct storage_ctx ctx = {
		.p_output = data,
		.size = size,
	};
	char key_str[64];

	snprintf(key_str, sizeof(key_str), SETTINGS_BASE "/%d/%s", index, key);

	int err = settings_load_subtree_direct(key_str, settings_direct_loader, &ctx);

	if (err) {
		LOG_ERR("Failed to load %s data (err %d)", key, err);
	}

	return err;
}
```

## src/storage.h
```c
/* Copyright (C) 2026 Alif Semiconductor - All Rights Reserved.
 * Use, distribution and modification of this code is permitted under the
 * terms stated in the Alif Semiconductor Software License Agreement
 *
 * You should have received a copy of the Alif Semiconductor Software
 * License Agreement with this file. If not, please write to:
 * contact@alifsemi.com, or visit: https://alifsemi.com/license
 */

#ifndef _STORAGE_H
#define _STORAGE_H

#include <stdint.h>
#include "atc_csisc.h"

#define SETTINGS_BASE            "uc_central"
#define SETTINGS_NAME_KEYS       "keys"
#define SETTINGS_NAME_CONNECTION "connection"

/*
 * Storage format will be:
 *   uc_central/<storage index>/<data name>
 */

struct bond_data {
	void *data;
	size_t size;
};

struct peer_data {
	sys_snode_t node;
	uint16_t storage_index;
	uint8_t actv_idx;
	uint8_t conidx;
	struct bond_data keys;            /* gapc_pairing_keys_t */
	struct bond_data connection;      /* gapc_bond_data_t */
};

/**
 * @brief Stores data in the flash memory.
 *
 * @param key Key string to identify the data.
 * @param data Pointer to the data to store.
 * @param size Size of the data.
 *
 * @return 0 on success, error code otherwise.
 */
int storage_init(void);

/**
 * @brief Loads all stored data from the flash memory.
 *
 * @param p_found_peers Pointer to the list of bonded peers.
 *
 * @return 0 on success, error code otherwise.
 */
int storage_load_all(sys_slist_t *p_found_peers);

/**
 * @brief Stores data in the flash memory.
 *
 * @param key Key string to identify the data.
 * @param index Index of the data to store.
 * @param data Pointer to the data to store.
 * @param size Size of the data.
 *
 * @return 0 on success, error code otherwise.
 */
int storage_store(const char *key, int index, void *data, size_t size);

/**
 * @brief Deletes data from the flash memory.
 *
 * @param key Key string to identify the data.
 * @param index Index of the data to delete.
 *
 * @return 0 on success, error code otherwise.
 */
int storage_delete(const char *key, const int index);

/**
 * @brief Loads data from the flash memory.
 *
 * @param key Key string to identify the data.
 * @param index Index of the data to load.
 * @param data Pointer to store the loaded data.
 * @param size Size of the data to load.
 *
 * @return 0 on success, error code otherwise.
 */
int storage_load(const char *key, int index, void *data, size_t size);

/**
 * @brief Retrieves a free peer context from the pool.
 * @return Pointer to the free peer context, or NULL if no free context is available.
 */
struct peer_data *storage_allocate_peer_context(void);

/**
 * @brief Frees a peer context and returns it to the pool.
 * @param p_peer Pointer to the peer context to free.
 */
void storage_free_peer_context(struct peer_data *p_peer);

#endif /* _STORAGE_H */
```
